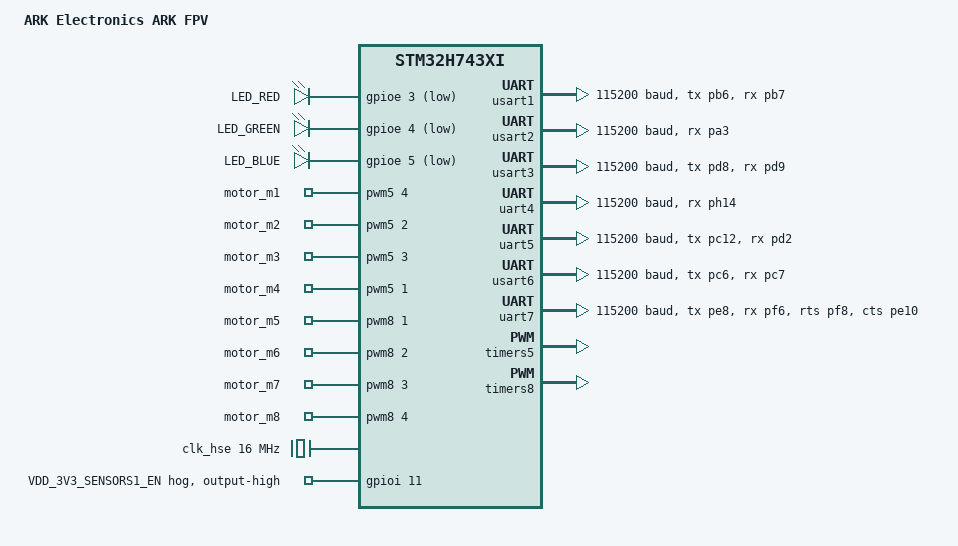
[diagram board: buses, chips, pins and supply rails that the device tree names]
/*
 * Copyright (c) 2026 ARK Electronics LLC
 * SPDX-License-Identifier: Apache-2.0
 *
 * Clock tree (480 MHz SYSCLK), USART3 debug console,
 * RGB status LEDs, and the 3V3_SENSORS rail enable.
 *
 */

/dts-v1/;
#include <st/h7/stm32h743Xi.dtsi>
#include "ark_fpv-pinctrl.dtsi"

/ {
	model = "ARK Electronics ARK FPV";
	compatible = "ark,ark-fpv";

	chosen {
		zephyr,console = &usart3;
		zephyr,shell-uart = &usart3;
		zephyr,sram = &sram0;
		zephyr,flash = &flash0;
		zephyr,dtcm = &dtcm;
	};

	leds: leds {
		compatible = "gpio-leds";

		/*
		 * Schematic sheet 6: nLED_RED / nLED_GREEN / nLED_BLUE are
		 * driven through the FETs on PE3/PE4/PE5. Active-low, and the
		 * board uses open-drain drive on these pins so the LED side
		 * can be 5 V tolerant — model that in DT with GPIO_OPEN_DRAIN.
		 */
		red_led: led_red {
			gpios = <&gpioe 3 (GPIO_ACTIVE_LOW | GPIO_OPEN_DRAIN)>;
			label = "LED_RED";
		};

		green_led: led_green {
			gpios = <&gpioe 4 (GPIO_ACTIVE_LOW | GPIO_OPEN_DRAIN)>;
			label = "LED_GREEN";
		};

		blue_led: led_blue {
			gpios = <&gpioe 5 (GPIO_ACTIVE_LOW | GPIO_OPEN_DRAIN)>;
			label = "LED_BLUE";
		};
	};

	aliases {
		/*
		 * led0 → blue. PX4 lights blue at boot, so we keep the same
		 * convention here for the toy app's "alive" indicator.
		 */
		led0 = &blue_led;
		led-red = &red_led;
		led-green = &green_led;
		led-blue = &blue_led;

		/*
		 * UART role aliases — these are the betaflight intent for each
		 * connector. Customer firmware can address ports by role so it
		 * doesn't depend on the specific USART/UART instance number.
		 */
		gps0 = &usart1;          /* J6 GPS1 connector */
		dji0 = &usart2;          /* J7 DJI Air Unit RX */
		esc-telem = &uart4;      /* J3 PWM ESC telemetry RX */
		vtx0 = &uart5;           /* J7 DJI / VTX DisplayPort */
		rc0 = &usart6;           /* J9 RC input */
		telem0 = &uart7;         /* J4 TELEM 1 with flow control */

		/*
		 * Motor PWM aliases — M1..M8 follow the FMU connector
		 * silkscreen on the board (sheet 6), NOT the timer channel
		 * numbers. This matches betaflight's user-facing numbering.
		 */
		motor1 = &motor_m1;
		motor2 = &motor_m2;
		motor3 = &motor_m3;
		motor4 = &motor_m4;
		motor5 = &motor_m5;
		motor6 = &motor_m6;
		motor7 = &motor_m7;
		motor8 = &motor_m8;
	};

	motors {
		/*
		 * Eight 50 Hz servo-PWM outputs on the J3/J5 motor connectors.
		 * Mapping (schematic sheet 6):
		 *   M1 = PI0  TIM5_CH4
		 *   M2 = PH11 TIM5_CH2
		 *   M3 = PH12 TIM5_CH3
		 *   M4 = PH10 TIM5_CH1
		 *   M5 = PI5  TIM8_CH1
		 *   M6 = PI6  TIM8_CH2
		 *   M7 = PI7  TIM8_CH3
		 *   M8 = PI2  TIM8_CH4
		 *
		 * `pwm-leds` is the standard container compatible — Zephyr
		 * has no `pwm-motors` binding, and the semantics (one
		 * pwm_dt_spec per child) are identical.
		 */
		compatible = "pwm-leds";

		motor_m1: motor_m1 {
			pwms = <&pwm5 4 PWM_MSEC(20) PWM_POLARITY_NORMAL>;
		};
		motor_m2: motor_m2 {
			pwms = <&pwm5 2 PWM_MSEC(20) PWM_POLARITY_NORMAL>;
		};
		motor_m3: motor_m3 {
			pwms = <&pwm5 3 PWM_MSEC(20) PWM_POLARITY_NORMAL>;
		};
		motor_m4: motor_m4 {
			pwms = <&pwm5 1 PWM_MSEC(20) PWM_POLARITY_NORMAL>;
		};
		motor_m5: motor_m5 {
			pwms = <&pwm8 1 PWM_MSEC(20) PWM_POLARITY_NORMAL>;
		};
		motor_m6: motor_m6 {
			pwms = <&pwm8 2 PWM_MSEC(20) PWM_POLARITY_NORMAL>;
		};
		motor_m7: motor_m7 {
			pwms = <&pwm8 3 PWM_MSEC(20) PWM_POLARITY_NORMAL>;
		};
		motor_m8: motor_m8 {
			pwms = <&pwm8 4 PWM_MSEC(20) PWM_POLARITY_NORMAL>;
		};
	};
};

/*
 * --- Clock tree ----------------------------------------------------------
 *
 * HSE = 16 MHz crystal (Y2, schematic sheet 5).
 * Target: SYSCLK 480 MHz, the H743's chip max — matches betaflight.
 * (PX4 deliberately runs this board at 320 MHz to limit heat dissipation;
 *  we accept the thermal trade-off to match betaflight's behaviour. If
 *  thermals become a field issue, the fallback is mul-n=160 → SYSCLK
 *  320 MHz with the rest of the tree unchanged.)
 *
 *   HSE 16 MHz / div-m=4 → PLL1 input 4 MHz
 *   * mul-n=240         → PLL1 VCO 960 MHz
 *   / div-p=2           → SYSCLK 480 MHz
 *   / div-q=8           → 120 MHz (kernel clock for SPI/SDMMC)
 *   / div-r=2           → TRACECK 480 MHz
 *
 * AHB/APB dividers (mirror nucleo_h743zi @ 480 MHz):
 *   d1cpre=1, hpre=2, d1ppre=2, d2ppre1=2, d2ppre2=2, d3ppre=2.
 */
&clk_hse {
	clock-frequency = <DT_FREQ_M(16)>;
	status = "okay";
};

&pll {
	div-m = <4>;
	mul-n = <240>;
	div-p = <2>;
	div-q = <8>;
	div-r = <2>;
	clocks = <&clk_hse>;
	status = "okay";
};

&rcc {
	clocks = <&pll>;
	clock-frequency = <DT_FREQ_M(480)>;
	d1cpre = <1>;
	hpre = <2>;
	d1ppre = <2>;
	d2ppre1 = <2>;
	d2ppre2 = <2>;
	d3ppre = <2>;
};

&pwr {
	/*
	 * 3V3_FMU comes from the on-board buck into VDD/VCAP — the chip's internal
	 * LDO derives the core voltage. VOS0 is selected automatically for SYSCLK ≥ 400 MHz.
	 */
	power-supply = "ldo";
};

/*
 * --- UARTs --------------------------------------------------------------
 *
 * Pin assignments per ARK_FPV.PDF (sheet 5/6) and the betaflight target:
 *
 *   usart1  TX PB6  RX PB7              GPS                 — full duplex
 *   usart2          RX PA3              DJI HD link         — RX-only
 *   usart3  TX PD8  RX PD9              debug / MSP console — full duplex (chosen)
 *   uart4           RX PH14             ESC telemetry       — RX-only
 *   uart5   TX PC12 RX PD2              VTX / DisplayPort   — full duplex
 *   usart6  TX PC6  RX PC7              RC input            — full duplex
 *   uart7   TX PE8  RX PF6  RTS PF8 CTS PE10  telemetry     — full duplex + flow control
 *
 * USART2 and UART4 only get RX pinmuxes — these connectors expose RX-only
 * signals on the board (DJI HD link is one-way; betaflight uses UART4
 * purely as an ESC telemetry sink). The corresponding TX pads are wired
 * up elsewhere on the SoC (PD5, PH13) but the board doesn't expose them.
 *
 * UART7 flow-control pins are pinmuxed so the hardware is ready, but
 * `hw-flow-control` is not enabled by default — turn it on per-app if
 * the connected peripheral requires it.
 */
&usart1 {
	pinctrl-0 = <&usart1_tx_pb6 &usart1_rx_pb7>;
	pinctrl-names = "default";
	current-speed = <115200>;
	status = "okay";
};

&usart2 {
	pinctrl-0 = <&usart2_rx_pa3>;
	pinctrl-names = "default";
	current-speed = <115200>;
	status = "okay";
};

&usart3 {
	pinctrl-0 = <&usart3_tx_pd8 &usart3_rx_pd9>;
	pinctrl-names = "default";
	current-speed = <115200>;
	status = "okay";
};

&uart4 {
	pinctrl-0 = <&uart4_rx_ph14>;
	pinctrl-names = "default";
	current-speed = <115200>;
	status = "okay";
};

&uart5 {
	pinctrl-0 = <&uart5_tx_pc12 &uart5_rx_pd2>;
	pinctrl-names = "default";
	current-speed = <115200>;
	status = "okay";
};

&usart6 {
	pinctrl-0 = <&usart6_tx_pc6 &usart6_rx_pc7>;
	pinctrl-names = "default";
	current-speed = <115200>;
	status = "okay";
};

&uart7 {
	pinctrl-0 = <&uart7_tx_pe8 &uart7_rx_pf6
		     &uart7_rts_pf8 &uart7_cts_pe10>;
	pinctrl-names = "default";
	current-speed = <115200>;
	status = "okay";
};

/*
 * --- Motor PWM (TIM5 → M1-M4, TIM8 → M5-M8) -----------------------------
 *
 * Timer kernel clock on the H743 with d2ppre1=d2ppre2=2 is 2 × APB =
 * 240 MHz. st,prescaler = 239 yields a 1 MHz counter (1 µs / tick) for
 * both timers — fine resolution for 50 Hz servo PWM (1000–2000 µs pulse
 * width) and leaves headroom for tighter periods later.
 *
 * Neither TIM5 nor TIM8 is wired to the Zephyr kernel timer (default is
 * the Cortex-M SysTick). The optional heater
 * PWM on TIM2_CH3 (PB10) and the M9 output on TIM4_CH1 (PD12) are out
 * of scope and left disabled.
 *
 * Safety: do not connect ESCs while running the sweep app — the
 * duty cycle will move continuously across the throttle range.
 */
&timers5 {
	st,prescaler = <239>;
	status = "okay";

	pwm5: pwm {
		status = "okay";
		pinctrl-0 = <&tim5_ch1_ph10 &tim5_ch2_ph11
			     &tim5_ch3_ph12 &tim5_ch4_pi0>;
		pinctrl-names = "default";
	};
};

&timers8 {
	st,prescaler = <239>;
	status = "okay";

	pwm8: pwm {
		status = "okay";
		pinctrl-0 = <&tim8_ch1_pi5 &tim8_ch2_pi6
			     &tim8_ch3_pi7 &tim8_ch4_pi2>;
		pinctrl-names = "default";
	};
};

/*
 * --- 3V3_SENSORS rail enable ------------------------------------------
 *
 * The NCV8177AMX330TCG sensor LDO (U4, sheet 2) is gated by
 * VDD_3V3_SENSORS1_EN on PI11. Until this pin is driven high every
 * peripheral on the 3V3_SENSORS rail (BMP390 VDD, IIS2MDC VDD_IO, the
 * IIM-42653, the external SPI6 connector) is dead. Drive it on at kernel
 * start via a gpio-hog so you can talk to sensors without
 * having to remember to flip it.
 */
&gpioi {
	sensor_3v3_en {
		gpio-hog;
		gpios = <11 GPIO_ACTIVE_HIGH>;
		output-high;
		line-name = "VDD_3V3_SENSORS1_EN";
	};
};
